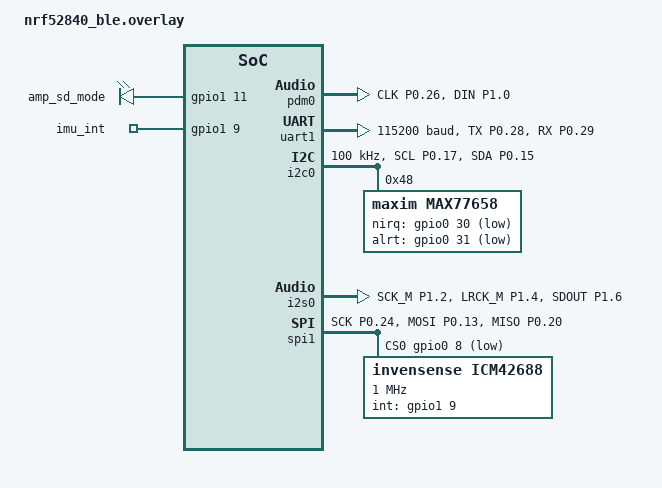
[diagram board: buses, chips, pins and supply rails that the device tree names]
#include <zephyr/dt-bindings/regulator/nrf5x.h>
#include <zephyr/dt-bindings/pinctrl/nrf-pinctrl.h>

/* 解绑 reset 并强制 LDO */
&uicr {
    /delete-property/ gpio-as-nreset;
};

&reg1 {
    regulator-initial-mode = <NRF5X_REG_MODE_LDO>;
};

/ {
    aliases {
        amp-sd-mode = &amp_sd_mode;
        imu-int = &imu_int;
    };

    chosen {
        zephyr,settings-partition = &storage_partition;
    };

    gpio_leds {
        compatible = "gpio-leds";

        amp_sd_mode: amp-sd-mode {
            gpios = <&gpio1 11 GPIO_ACTIVE_HIGH>;
        };

    };

    gpio_keys {
        compatible = "gpio-keys";

        imu_int: imu_int {
            gpios = <&gpio1 9 GPIO_ACTIVE_HIGH>;
            label = "imu_int";
        };
    };
};

&qspi {
    status = "disabled";
};

&mx25r64 {
    status = "disabled";
};
/* ===== 禁用 DK 的 LED / BUTTON（保留 node label 供 /aliases 引用） ===== */
&led0 { status = "disabled"; };
&led1 { status = "disabled"; };
&led2 { status = "disabled"; };
&led3 { status = "disabled"; };

/* nrf52840dk：P0.11 通常是 button0（会占用 PDM_CLK） */
&button0 { status = "disabled"; };
&button1 { status = "disabled"; };
&button2 { status = "disabled"; };
&button3 { status = "disabled"; };

/* ===== PDM0: MP23DB01HP  P0.26=CLK, P1.00=DIN ===== */
&pinctrl {
    pdm0_default: pdm0_default {
        group1 {
            psels = <NRF_PSEL(PDM_CLK, 0, 26)>,
                    <NRF_PSEL(PDM_DIN, 1, 0)>;
            bias-disable;
        };
    };

    pdm0_sleep: pdm0_sleep {
        group1 {
            psels = <NRF_PSEL(PDM_CLK, 0, 26)>,
                    <NRF_PSEL(PDM_DIN, 1, 0)>;
            low-power-enable;
        };
    };


    i2s0_default: i2s0_default {
        group1 {
            psels = <NRF_PSEL(I2S_SCK_M, 1, 2)>,
                    <NRF_PSEL(I2S_LRCK_M, 1, 4)>,
                    <NRF_PSEL(I2S_SDOUT, 1, 6)>,
                    <NRF_PSEL_DISCONNECTED(I2S_SDIN)>,
                    <NRF_PSEL_DISCONNECTED(I2S_MCK)>;
        };
    };

    spi1_default: spi1_default {
        group1 {
            psels = <NRF_PSEL(SPIM_SCK, 0, 24)>,
                    <NRF_PSEL(SPIM_MOSI, 0, 13)>,
                    <NRF_PSEL(SPIM_MISO, 0, 20)>;
        };
    };

    spi1_sleep: spi1_sleep {
        group1 {
            psels = <NRF_PSEL(SPIM_SCK, 0, 24)>,
                    <NRF_PSEL(SPIM_MOSI, 0, 13)>,
                    <NRF_PSEL(SPIM_MISO, 0, 20)>;
            low-power-enable;
        };
    };

    i2c0_default: i2c0_default {
        group1 {
            psels = <NRF_PSEL(TWIM_SCL, 0, 17)>,
                    <NRF_PSEL(TWIM_SDA, 0, 15)>;
            bias-pull-up;
        };
    };
    i2c0_sleep: i2c0_sleep {
        group1 {
            psels = <NRF_PSEL(TWIM_SCL, 0, 17)>,
                    <NRF_PSEL(TWIM_SDA, 0, 15)>;
            low-power-enable;
            bias-pull-up;
        };
    };

    uart1_default: uart1_default {
        group1 {
            psels = <NRF_PSEL(UART_TX, 0, 28)>,
                    <NRF_PSEL(UART_RX, 0, 29)>;
            bias-pull-up;
        };
    };

    uart1_sleep: uart1_sleep {
        group1 {
            psels = <NRF_PSEL(UART_TX, 0, 28)>,
                    <NRF_PSEL(UART_RX, 0, 29)>;
            low-power-enable;
            bias-pull-up;
        };
    };
};

&pdm0 {
    status = "okay";
    pinctrl-0 = <&pdm0_default>;
    pinctrl-1 = <&pdm0_sleep>;
    pinctrl-names = "default", "sleep";

    queue-size = <16>;

    /* 关键：先用内部高频时钟，绕开板上 HFXO 不稳定的问题 */
    clock-source = "PCLK32M";
};

&uart1 {
    status = "okay";
    current-speed = <115200>;
    pinctrl-0 = <&uart1_default>;
    pinctrl-1 = <&uart1_sleep>;
    pinctrl-names = "default", "sleep";
};

&uart0 {
    status = "disabled";
};

&i2c1 {
    status = "disabled";
};

&i2c0 {
    status = "okay";
    clock-frequency = <100000>;
    pinctrl-0 = <&i2c0_default>;
    pinctrl-1 = <&i2c0_sleep>;
    pinctrl-names = "default", "sleep";

    max77658: max77658@48 {
        compatible = "maxim,max77658";
        reg = <0x48>;
        nirq-gpios = <&gpio0 30 GPIO_ACTIVE_LOW>;
        alrt-gpios = <&gpio0 31 GPIO_ACTIVE_LOW>;
        status = "okay";
    };
};

&pwm0 {
    status = "disabled";
};

&spi3 {
    status = "disabled";
};

&adc {
    status = "disabled";
};

&nfct {
    status = "disabled";
};

&usbd {
    status = "disabled";
};

&ieee802154 {
    status = "disabled";
};

&i2s0 {
    status = "okay";
    clock-source = "PCLK32M";
    pinctrl-0 = <&i2s0_default>;
    pinctrl-names = "default";
};

&spi1 {
    status = "okay";
    pinctrl-0 = <&spi1_default>;
    pinctrl-1 = <&spi1_sleep>;
    pinctrl-names = "default", "sleep";
    cs-gpios = <&gpio0 8 GPIO_ACTIVE_LOW>;

    imu: icm42688@0 {
        compatible = "invensense,icm42688";
        reg = <0>;
        spi-max-frequency = <1000000>;
        spi-cpol;
        spi-cpha;
        int-gpios = <&gpio1 9 GPIO_ACTIVE_HIGH>;
        label = "ICM42688";
    };
};

/* QSPI uses P0.19/0.20/0.21 on DK; disable to avoid I2S pin conflict */
&qspi {
    status = "disabled";
};

&gpio0 {
    /delete-property/ gpio-reserved-ranges;
};
